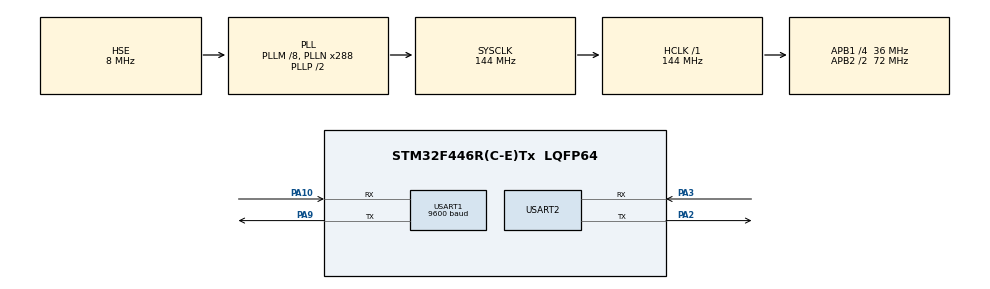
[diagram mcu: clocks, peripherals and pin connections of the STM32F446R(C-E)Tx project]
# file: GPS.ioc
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Mcu.Family=STM32F4
Mcu.Name=STM32F446R(C-E)Tx
Mcu.Package=LQFP64
NVIC.PriorityGroup=NVIC_PRIORITYGROUP_4
NVIC.USART1_IRQn=true\:0\:0\:false\:true\:true\:1\:true
PA10.Mode=Asynchronous
PA10.Signal=USART1_RX
PA2.Mode=Asynchronous
PA2.Signal=USART2_TX
PA3.Mode=Asynchronous
PA3.Signal=USART2_RX
PA9.Mode=Asynchronous
PA9.Signal=USART1_TX
PH0-OSC_IN.Mode=HSE-External-Clock-Source
PH0-OSC_IN.Signal=RCC_OSC_IN
PH1-OSC_OUT.Mode=HSE-External-Clock-Source
PH1-OSC_OUT.Signal=RCC_OSC_OUT
ProjectManager.HeapSize=0x200
ProjectManager.StackSize=0x400
ProjectManager.TargetToolchain=SW4STM32
RCC.AHBFreq_Value=144000000
RCC.APB1CLKDivider=RCC_HCLK_DIV4
RCC.APB1Freq_Value=36000000
RCC.APB1TimFreq_Value=72000000
RCC.APB2CLKDivider=RCC_HCLK_DIV2
RCC.APB2Freq_Value=72000000
RCC.APB2TimFreq_Value=144000000
RCC.CortexFreq_Value=144000000
RCC.HCLKFreq_Value=144000000
RCC.HSE_VALUE=8000000
RCC.PLLM=8
RCC.PLLN=288
RCC.PLLSourceVirtual=RCC_PLLSOURCE_HSE
RCC.SYSCLKFreq_VALUE=144000000
RCC.SYSCLKSource=RCC_SYSCLKSOURCE_PLLCLK
RCC.USBFreq_Value=144000000
RCC.VCOOutputFreq_Value=288000000
USART1.BaudRate=9600
USART1.VirtualMode=VM_ASYNC
USART2.VirtualMode=VM_ASYNC
board=GPS

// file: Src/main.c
/**
  ******************************************************************************
  * @file           : main.c
  * @brief          : Main program body
  ******************************************************************************
  ** This notice applies to any and all portions of this file
  * that are not between comment pairs USER CODE BEGIN and
  * USER CODE END. Other portions of this file, whether
  * inserted by the user or by software development tools
  * are owned by their respective copyright owners.
  *
  * COPYRIGHT(c) 2018 STMicroelectronics
  *
  * Redistribution and use in source and binary forms, with or without modification,
  * are permitted provided that the following conditions are met:
  *   1. Redistributions of source code must retain the above copyright notice,
  *      this list of conditions and the following disclaimer.
  *   2. Redistributions in binary form must reproduce the above copyright notice,
  *      this list of conditions and the following disclaimer in the documentation
  *      and/or other materials provided with the distribution.
  *   3. Neither the name of STMicroelectronics nor the names of its contributors
  *      may be used to endorse or promote products derived from this software
  *      without specific prior written permission.
  *
  * THIS SOFTWARE IS PROVIDED BY THE COPYRIGHT HOLDERS AND CONTRIBUTORS "AS IS"
  * AND ANY EXPRESS OR IMPLIED WARRANTIES, INCLUDING, BUT NOT LIMITED TO, THE
  * IMPLIED WARRANTIES OF MERCHANTABILITY AND FITNESS FOR A PARTICULAR PURPOSE ARE
  * DISCLAIMED. IN NO EVENT SHALL THE COPYRIGHT HOLDER OR CONTRIBUTORS BE LIABLE
  * FOR ANY DIRECT, INDIRECT, INCIDENTAL, SPECIAL, EXEMPLARY, OR CONSEQUENTIAL
  * DAMAGES (INCLUDING, BUT NOT LIMITED TO, PROCUREMENT OF SUBSTITUTE GOODS OR
  * SERVICES; LOSS OF USE, DATA, OR PROFITS; OR BUSINESS INTERRUPTION) HOWEVER
  * CAUSED AND ON ANY THEORY OF LIABILITY, WHETHER IN CONTRACT, STRICT LIABILITY,
  * OR TORT (INCLUDING NEGLIGENCE OR OTHERWISE) ARISING IN ANY WAY OUT OF THE USE
  * OF THIS SOFTWARE, EVEN IF ADVISED OF THE POSSIBILITY OF SUCH DAMAGE.
  *
  ******************************************************************************
  */
#include "main.h"
#include "stm32f4xx_hal.h"

/* USER CODE BEGIN Includes */
#include "string.h"
#include "stdio.h"
#include "stdlib.h"
#include <inttypes.h>
#include "stm32f4xx_hal_gpio.h"
#include "stm32f4xx_it.h"
#include "string.h"
#include <math.h>
#include "Eagle_TRT.h"

/* USER CODE END Includes */

UART_HandleTypeDef huart1;
UART_HandleTypeDef huart2;

/* USER CODE BEGIN PV */
/* Private variables ---------------------------------------------------------*/

#define PMTK_SET_NMEA_UPDATE_100_MILLIHERTZ  "$PMTK220,10000*2F\r\n" // Once every 10 seconds, 100 millihertz.
#define PMTK_SET_NMEA_UPDATE_200_MILLIHERTZ  "$PMTK220,5000*1B\r\n"  // Once every 5 seconds, 200 millihertz.
#define PMTK_SET_NMEA_UPDATE_1HZ  "$PMTK220,1000*1F\r\n"
#define PMTK_SET_NMEA_UPDATE_2HZ  "$PMTK220,500*2B\r\n"
#define PMTK_SET_NMEA_UPDATE_5HZ  "$PMTK220,200*2C\r\n"
#define PMTK_SET_NMEA_UPDATE_10HZ "$PMTK220,100*2F\r\n"

#define  PMTK_CMD_STANDBY_MODE "$PMTK161,0*28\r\n"	//enter in sleep mode

#define PMTK_API_SET_FIX_CTL_100_MILLIHERTZ  "$PMTK300,10000,0,0,0,0*2C" // Once every 10 seconds, 100 millihertz.
#define PMTK_API_SET_FIX_CTL_200_MILLIHERTZ  "$PMTK300,5000,0,0,0,0*18"  // Once every 5 seconds, 200 millihertz.
#define PMTK_API_SET_FIX_CTL_1HZ  "$PMTK300,1000,0,0,0,0*1C"
#define PMTK_API_SET_FIX_CTL_5HZ  "$PMTK300,200,0,0,0,0*2F"
// Can't fix position faster than 5 times a second!

#define PMTK_SET_BAUD_57600 "$PMTK251,57600*2C"
#define PMTK_SET_BAUD_9600 "$PMTK251,9600*17"
#define PMKT_SER_BAUD_DEFAULT "$PMTK251,0*28"//It works only if: a.full cold start command issue
										   //				     b.enter standby mode

// turn on only the second sentence (GPRMC)
#define PMTK_SET_NMEA_OUTPUT_RMCONLY "$PMTK314,0,1,0,0,0,0,0,0,0,0,0,0,0,0,0,0,0,0,0*29"
// turn on GPRMC and GGA
#define PMTK_SET_NMEA_OUTPUT_RMCGGA "$PMTK314,0,1,0,1,0,0,0,0,0,0,0,0,0,0,0,0,0,0,0*28"
// turn on ALL THE DATA
#define PMTK_SET_NMEA_OUTPUT_ALLDATA "$PMTK314,1,1,1,1,1,1,0,0,0,0,0,0,0,0,0,0,0,0,0*28"
// turn off output
#define PMTK_SET_NMEA_OUTPUT_OFF "$PMTK314,0,0,0,0,0,0,0,0,0,0,0,0,0,0,0,0,0,0,0*28\r\n"

// to generate your own sentences, check out the MTK command datasheet and use a checksum calculator
// such as the awesome http://www.hhhh.org/wiml/proj/nmeaxor.html

#define PMTK_LOCUS_STARTLOG  "$PMTK185,0*22"
#define PMTK_LOCUS_STOPLOG "$PMTK185,1*23"
#define PMTK_LOCUS_STARTSTOPACK "$PMTK001,185,3*3C"
#define PMTK_LOCUS_QUERY_STATUS "$PMTK183*38"
#define PMTK_LOCUS_ERASE_FLASH "$PMTK184,1*22"
#define LOCUS_OVERLAP 0
#define LOCUS_FULLSTOP 1

#define PMTK_ENABLE_SBAS "$PMTK313,1*2E"
#define PMTK_ENABLE_WAAS "$PMTK301,2*2E"

// standby command & boot successful message
#define PMTK_STANDBY "$PMTK161,0*28"
#define PMTK_STANDBY_SUCCESS "$PMTK001,161,3*36"  // Not needed currently
#define PMTK_AWAKE "$PMTK010,002*2D"

// ask for the release and version
#define PMTK_Q_RELEASE "$PMTK605*31"

// request for updates on antenna status
#define PGCMD_ANTENNA "$PGCMD,33,1*6C"
#define PGCMD_NOANTENNA "$PGCMD,33,0*6D"

// how long to wait when we're looking for a response
#define MAXWAITSENTENCE 10
//////////////////sentence with speed in it are: GPRMA; GPRMC; GPVTG; GPVBW
//////////////////GPVBW Water referenced and ground referenced speed data

char requested_data[70];
char bufferRX[100];
char bufferRX_prec[100];
int len = 4;
char sentences[5][5] = {{"GPRMA"},{"GPRMC"},{"GPVTG"},{"GPGGA"}};
int baud = 9600;
int fix = 0;//if the GPS is connected to satellites is 1 else is 0 if not connected else is -1 if I didn't found the data
int counter_A = 0;
int counter_B = 0;
int Error1 = 0;
int Error2 = 0;

//$GPRMC,225446,A,4916.45,N,12311.12,W,000.5,054.7,191194,020.3,E*68
//sentence example
/* USER CODE END PV */

void SystemClock_Config(void);
static void MX_GPIO_Init(void);
static void MX_USART1_UART_Init(void);
static void MX_USART2_UART_Init(void);
static void MX_NVIC_Init(void);

/* USER CODE BEGIN PFP */
/* Private function prototypes -----------------------------------------------*/

/* USER CODE END PFP */

int main(void)
{

  /* MCU Configuration----------------------------------------------------------*/

  /* Reset of all peripherals, Initializes the Flash interface and the Systick. */
  HAL_Init();

  /* Configure the system clock */
  SystemClock_Config();

  /* Initialize all configured peripherals */
  MX_GPIO_Init();
  MX_USART1_UART_Init();
  MX_USART2_UART_Init();

  /* Initialize interrupts */
  MX_NVIC_Init();
  /* USER CODE BEGIN 2 */
  //__HAL_UART_ENABLE_IT(&huart1, UART_IT_RXNE);
  //UART_SetConfig(&huart1);
  GPS_INIT();

  //GPS_Awake();

  double speed;
  double latitude;
  double longitude;
  char txt[300];

  char* char_speed;
  char* char_latitude;
  char* char_longitude;
  char* char_N;
  char* char_W;
  /* USER CODE END 2 */

  /* Infinite loop */
  /* USER CODE BEGIN WHILE */

  print("start");
  while (1)
  {

  /* USER CODE END WHILE */

  }

}

void SystemClock_Config(void)
{

  RCC_OscInitTypeDef RCC_OscInitStruct;
  RCC_ClkInitTypeDef RCC_ClkInitStruct;

    /**Configure the main internal regulator output voltage
    */
  __HAL_RCC_PWR_CLK_ENABLE();

  __HAL_PWR_VOLTAGESCALING_CONFIG(PWR_REGULATOR_VOLTAGE_SCALE1);

    /**Initializes the CPU, AHB and APB busses clocks
    */
  RCC_OscInitStruct.OscillatorType = RCC_OSCILLATORTYPE_HSE;
  RCC_OscInitStruct.HSEState = RCC_HSE_BYPASS;
  RCC_OscInitStruct.PLL.PLLState = RCC_PLL_ON;
  RCC_OscInitStruct.PLL.PLLSource = RCC_PLLSOURCE_HSE;
  RCC_OscInitStruct.PLL.PLLM = 8;
  RCC_OscInitStruct.PLL.PLLN = 288;
  RCC_OscInitStruct.PLL.PLLP = RCC_PLLP_DIV2;
  RCC_OscInitStruct.PLL.PLLQ = 2;
  RCC_OscInitStruct.PLL.PLLR = 2;
  if (HAL_RCC_OscConfig(&RCC_OscInitStruct) != HAL_OK)
  {
    _Error_Handler(__FILE__, __LINE__);
  }

    /**Initializes the CPU, AHB and APB busses clocks
    */
  RCC_ClkInitStruct.ClockType = RCC_CLOCKTYPE_HCLK|RCC_CLOCKTYPE_SYSCLK
                              |RCC_CLOCKTYPE_PCLK1|RCC_CLOCKTYPE_PCLK2;
  RCC_ClkInitStruct.SYSCLKSource = RCC_SYSCLKSOURCE_PLLCLK;
  RCC_ClkInitStruct.AHBCLKDivider = RCC_SYSCLK_DIV1;
  RCC_ClkInitStruct.APB1CLKDivider = RCC_HCLK_DIV4;
  RCC_ClkInitStruct.APB2CLKDivider = RCC_HCLK_DIV2;

  if (HAL_RCC_ClockConfig(&RCC_ClkInitStruct, FLASH_LATENCY_4) != HAL_OK)
  {
    _Error_Handler(__FILE__, __LINE__);
  }

    /**Configure the Systick interrupt time
    */
  HAL_SYSTICK_Config(HAL_RCC_GetHCLKFreq()/1000);

    /**Configure the Systick
    */
  HAL_SYSTICK_CLKSourceConfig(SYSTICK_CLKSOURCE_HCLK);

  /* SysTick_IRQn interrupt configuration */
  HAL_NVIC_SetPriority(SysTick_IRQn, 0, 0);
}

/**
  * @brief NVIC Configuration.
  * @retval None
  */
static void MX_NVIC_Init(void)
{
  /* USART1_IRQn interrupt configuration */
  HAL_NVIC_SetPriority(USART1_IRQn, 0, 0);
  HAL_NVIC_EnableIRQ(USART1_IRQn);
}

/* USART1 init function */
static void MX_USART1_UART_Init(void)
{

  huart1.Instance = USART1;
  huart1.Init.BaudRate = baud;
  huart1.Init.WordLength = UART_WORDLENGTH_8B;
  huart1.Init.StopBits = UART_STOPBITS_1;
  huart1.Init.Parity = UART_PARITY_NONE;
  huart1.Init.Mode = UART_MODE_TX_RX;
  huart1.Init.HwFlowCtl = UART_HWCONTROL_NONE;
  huart1.Init.OverSampling = UART_OVERSAMPLING_16;
  if (HAL_UART_Init(&huart1) != HAL_OK)
  {
    _Error_Handler(__FILE__, __LINE__);
  }

}

/* USART2 init function */
static void MX_USART2_UART_Init(void)
{

  huart2.Instance = USART2;
  huart2.Init.BaudRate = 115200;
  huart2.Init.WordLength = UART_WORDLENGTH_8B;
  huart2.Init.StopBits = UART_STOPBITS_1;
  huart2.Init.Parity = UART_PARITY_NONE;
  huart2.Init.Mode = UART_MODE_TX_RX;
  huart2.Init.HwFlowCtl = UART_HWCONTROL_NONE;
  huart2.Init.OverSampling = UART_OVERSAMPLING_16;
  if (HAL_UART_Init(&huart2) != HAL_OK)
  {
    _Error_Handler(__FILE__, __LINE__);
  }

}

/** Configure pins as
        * Analog
        * Input
        * Output
        * EVENT_OUT
        * EXTI
*/
static void MX_GPIO_Init(void)
{

  /* GPIO Ports Clock Enable */
  __HAL_RCC_GPIOH_CLK_ENABLE();
  __HAL_RCC_GPIOA_CLK_ENABLE();

}

/* USER CODE BEGIN 4 */

int checksum(char * string_checksum, int size_string_checksum){ //check the checksum
	int res=0;
	for(int i=0; i<size_string_checksum-3;i++){
		res=res^string_checksum[i];
	}
	char check[2]={string_checksum[size_string_checksum-2],string_checksum[size_string_checksum-1]};
	//**********trovare modo per convertire res in char ed esadecimale*******************************//
	if(res[0]==check[0]&&res[1]==check[1]){
		return 1; //checksum is correct
	}else return 0; //checksum failed
}

/* USER CODE END 4 */

void _Error_Handler(char *file, int line)
{
  while(1)
  {
  }
}

/************************ (C) COPYRIGHT STMicroelectronics *****END OF FILE****/
